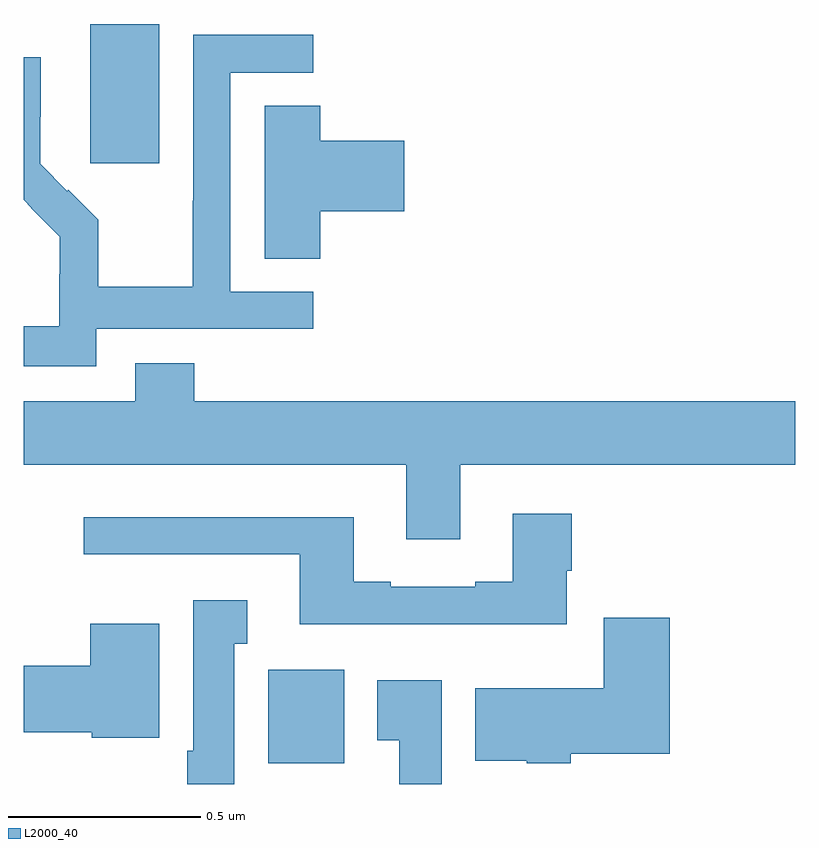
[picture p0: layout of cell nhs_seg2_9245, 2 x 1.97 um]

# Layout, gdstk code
import gdstk
lib = gdstk.Library(unit=1e-6, precision=1e-09)
def R(c, l, rs):  # rectangles x0, y0, x1, y1
    for r in rs: c.add(gdstk.rectangle(r[:2], r[2:], *l))
def P(c, l, *ps):  # polygons
    for p in ps: c.add(gdstk.Polygon(p, *l))
L2000_40 = (2000, 40)

nhs_seg2_9245 = lib.new_cell('nhs_seg2_9245')
R(nhs_seg2_9245, L2000_40, [(226.634,654.854,226.831,655.096), (226.172,656.409,226.351,656.77)])
P(nhs_seg2_9245, L2000_40, [(226.188,655.98),(226.75,655.98),(226.75,656.076),(226.536,656.076),(226.536,656.643),(226.75,656.643),(226.75,656.742),(226.44,656.742),(226.44,656.312),(226.438,656.312),(226.438,656.089),(226.193,656.089),(226.193,656.263),(226.116,656.34),(226.113,656.337),(226.043,656.408),(226.043,656.53),(226.044,656.53),(226.044,656.684),(226,656.684),(226,656.314),(226.021,656.293),(226.02,656.292),(226.094,656.218),(226.094,656.121),(226.092,656.121),(226.092,655.987),(226,655.987),(226,655.883),(226.188,655.883)],
  [(226.769,656.285),(226.987,656.285),(226.987,656.468),(226.769,656.468),(226.769,656.558),(226.625,656.558),(226.625,656.161),(226.769,656.161)],
  [(227.131,655.628),(228,655.628),(228,655.792),(226.442,655.792),(226.442,655.891),(226.289,655.891),(226.289,655.792),(226,655.792),(226,655.628),(226.991,655.628),(226.991,655.434),(227.131,655.434)],
  [(227.407,655.353),(227.42,655.353),(227.42,655.501),(227.267,655.501),(227.267,655.324),(227.171,655.324),(227.171,655.311),(226.951,655.311),(226.951,655.324),(226.855,655.324),(226.855,655.492),(226.155,655.492),(226.155,655.395),(226.715,655.395),(226.715,655.214),(227.407,655.214)],
  [(226.546,655.163),(226.579,655.163),(226.579,655.276),(226.439,655.276),(226.439,654.886),(226.424,654.886),(226.424,654.8),(226.546,654.8)],
  [(227.418,654.878),(227.675,654.878),(227.675,655.231),(227.504,655.231),(227.504,655.048),(227.171,655.048),(227.171,654.86),(227.304,654.86),(227.304,654.854),(227.418,654.854)],
  [(226.351,655.216),(226.172,655.216),(226.172,655.106),(226,655.106),(226,654.934),(226.176,654.934),(226.176,654.92),(226.351,654.92)],
  [(227.083,655.069),(226.916,655.069),(226.916,654.913),(226.973,654.913),(226.973,654.8),(227.083,654.8)])

lib.write_gds('nhs_seg2_9245.gds')
